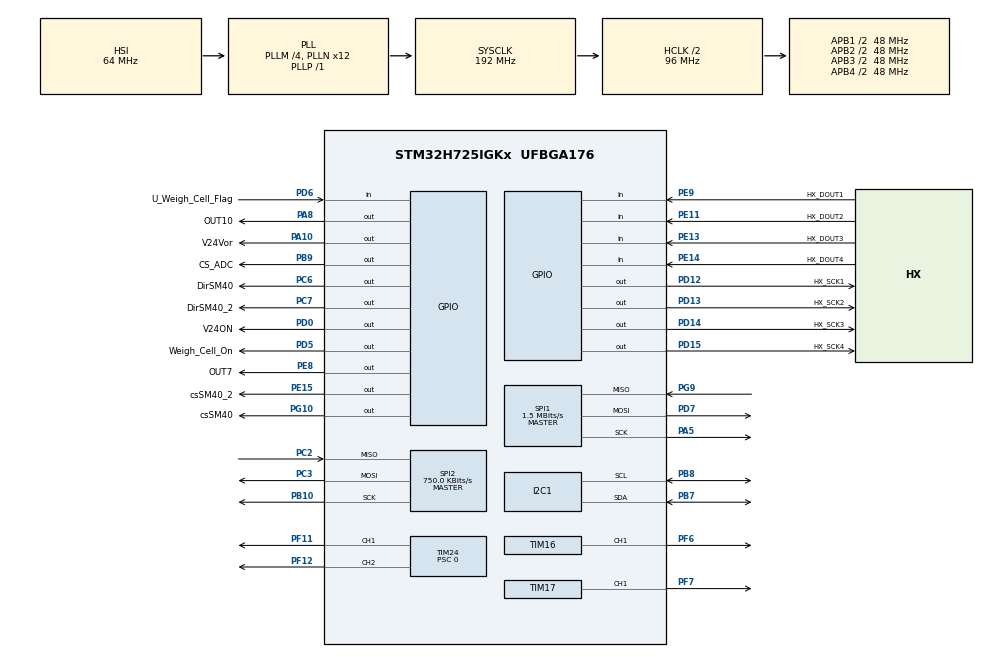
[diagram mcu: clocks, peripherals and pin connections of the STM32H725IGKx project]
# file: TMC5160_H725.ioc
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CORTEX_M7.CPU_DCache=Enabled
CORTEX_M7.CPU_ICache=Enabled
CORTEX_M7.Enable_S-Cortex_Memory_Protection_Unit_Region2_Settings_S=__NULL
CORTEX_M7.default_mode_Activation=1
I2C1.Timing=0x20303E5D
Mcu.Family=STM32H7
Mcu.Name=STM32H725IGKx
Mcu.Package=UFBGA176
NVIC.I2C1_EV_IRQn=true\:0\:0\:false\:false\:true\:true\:true\:true
NVIC.PriorityGroup=NVIC_PRIORITYGROUP_4
NVIC.SPI1_IRQn=true\:0\:0\:false\:false\:true\:true\:true\:true
NVIC.SPI2_IRQn=true\:0\:0\:false\:false\:true\:true\:true\:true
NVIC.TIM17_IRQn=true\:0\:0\:false\:false\:true\:true\:true\:true
NVIC.TIM1_UP_IRQn=true\:15\:0\:false\:false\:true\:false\:true\:true
NVIC.TimeBase=TIM1_UP_IRQn
NVIC.TimeBaseIP=TIM1
PA10.GPIO_Label=V24Vor
PA10.GPIO_Speed=GPIO_SPEED_FREQ_LOW
PA10.Signal=GPIO_Output
PA5.GPIO_Speed=GPIO_SPEED_FREQ_VERY_HIGH
PA5.Mode=Full_Duplex_Master
PA5.Signal=SPI1_SCK
PA8.GPIO_Label=OUT10
PA8.Signal=GPIO_Output
PB10.Mode=Full_Duplex_Master
PB10.Signal=SPI2_SCK
PB7.GPIO_Pu=GPIO_PULLUP
PB7.Mode=I2C
PB7.Signal=I2C1_SDA
PB8.GPIO_Pu=GPIO_PULLUP
PB8.Mode=I2C
PB8.Signal=I2C1_SCL
PB9.GPIO_Label=CS_ADC
PB9.Signal=GPIO_Output
PC14-OSC32_IN.Mode=LSE-External-Oscillator
PC14-OSC32_IN.Signal=RCC_OSC32_IN
PC15-OSC32_OUT.Mode=LSE-External-Oscillator
PC15-OSC32_OUT.Signal=RCC_OSC32_OUT
PC2.GPIO_PuPd=GPIO_NOPULL
PC2.GPIO_Speed=GPIO_SPEED_FREQ_LOW
PC2.Mode=Full_Duplex_Master
PC2.Signal=SPI2_MISO
PC3.Mode=Full_Duplex_Master
PC3.Signal=SPI2_MOSI
PC6.GPIO_Label=DirSM40
PC6.GPIO_Speed=GPIO_SPEED_FREQ_LOW
PC6.Signal=GPIO_Output
PC7.GPIO_Label=DirSM40_2
PC7.Signal=GPIO_Output
PD0.GPIO_Label=V24ON
PD0.GPIO_Speed=GPIO_SPEED_FREQ_LOW
PD0.Signal=GPIO_Output
PD12.GPIO_Label=HX_SCK1
PD12.Signal=GPIO_Output
PD13.GPIO_Label=HX_SCK2 
PD13.Signal=GPIO_Output
PD14.GPIO_Label=HX_SCK3
PD14.Signal=GPIO_Output
PD15.GPIO_Label=HX_SCK4
PD15.Signal=GPIO_Output
PD5.GPIO_Label=Weigh_Cell_On 
PD5.Signal=GPIO_Output
PD6.GPIO_Label=U_Weigh_Cell_Flag 
PD6.Signal=GPIO_Input
PD7.GPIO_Speed=GPIO_SPEED_FREQ_VERY_HIGH
PD7.Mode=Full_Duplex_Master
PD7.Signal=SPI1_MOSI
PE11.GPIO_Label=HX_DOUT2 
PE11.Signal=GPIO_Input
PE13.GPIO_Label=HX_DOUT3 
PE13.Signal=GPIO_Input
PE14.GPIO_Label=HX_DOUT4 
PE14.Signal=GPIO_Input
PE15.GPIO_Label=csSM40_2
PE15.Signal=GPIO_Output
PE8.GPIO_Label=OUT7
PE8.Signal=GPIO_Output
PE9.GPIO_Label=HX_DOUT1 
PE9.Signal=GPIO_Input
PF11.Mode=PWM Generation1 CH1
PF11.Signal=TIM24_CH1
PF12.Signal=S_TIM24_CH2
PF6.Signal=S_TIM16_CH1
PF7.Signal=S_TIM17_CH1
PG10.GPIO_Label=csSM40
PG10.GPIO_Speed=GPIO_SPEED_FREQ_LOW
PG10.Signal=GPIO_Output
PG9.GPIO_Speed=GPIO_SPEED_FREQ_VERY_HIGH
PG9.Mode=Full_Duplex_Master
PG9.Signal=SPI1_MISO
ProjectManager.HeapSize=0x200
ProjectManager.StackSize=0x400
ProjectManager.TargetToolchain=STM32CubeIDE
RCC.ADCFreq_Value=129000000
RCC.APB1Freq_Value=48000000
RCC.APB2Freq_Value=48000000
RCC.APB3Freq_Value=48000000
RCC.APB4Freq_Value=48000000
RCC.CortexFreq_Value=192000000
RCC.D1PPRE=RCC_APB3_DIV2
RCC.D2PPRE1=RCC_APB1_DIV2
RCC.D2PPRE2=RCC_APB2_DIV2
RCC.D3PPRE=RCC_APB4_DIV2
RCC.DIVM1=4
RCC.DIVN1=12
RCC.DIVP1=1
RCC.HCLKFreq_Value=96000000
RCC.HPRE=RCC_HCLK_DIV2
RCC.SYSCLKFreq_VALUE=192000000
RCC.SYSCLKSource=RCC_SYSCLKSOURCE_PLLCLK
RCC.USBFreq_Value=96000000
SH.S_TIM16_CH1.0=TIM16_CH1,PWM Generation1 CH1
SH.S_TIM17_CH1.0=TIM17_CH1,PWM Generation1 CH1
SH.S_TIM24_CH2.0=TIM24_CH2,PWM Generation2 CH2
SPI1.BaudRatePrescaler=SPI_BAUDRATEPRESCALER_64
SPI1.CLKPolarity=SPI_POLARITY_HIGH
SPI1.CalculateBaudRate=1.5 MBits/s
SPI1.DataSize=SPI_DATASIZE_8BIT
SPI1.Direction=SPI_DIRECTION_2LINES
SPI1.Mode=SPI_MODE_MASTER
SPI1.NSSPMode=SPI_NSS_PULSE_DISABLE
SPI1.VirtualType=VM_MASTER
SPI2.BaudRatePrescaler=SPI_BAUDRATEPRESCALER_128
SPI2.CLKPhase=SPI_PHASE_2EDGE
SPI2.CLKPolarity=SPI_POLARITY_HIGH
SPI2.CalculateBaudRate=750.0 KBits/s
SPI2.DataSize=SPI_DATASIZE_8BIT
SPI2.Direction=SPI_DIRECTION_2LINES
SPI2.Mode=SPI_MODE_MASTER
SPI2.NSSPMode=SPI_NSS_PULSE_DISABLE
SPI2.VirtualType=VM_MASTER
TIM16.AutoReloadPreload=TIM_AUTORELOAD_PRELOAD_ENABLE
TIM16.Channel=TIM_CHANNEL_1
TIM17.AutoReloadPreload=TIM_AUTORELOAD_PRELOAD_ENABLE
TIM17.Channel=TIM_CHANNEL_1
TIM17.ClockDivision=TIM_CLOCKDIVISION_DIV1
TIM17.Prescaler=0
TIM24.AutoReloadPreload=TIM_AUTORELOAD_PRELOAD_ENABLE
TIM24.Channel-PWM\ Generation1\ CH1=TIM_CHANNEL_1
TIM24.Channel-PWM\ Generation2\ CH2=TIM_CHANNEL_2
TIM24.ClockDivision=TIM_CLOCKDIVISION_DIV4
TIM24.OCMode_PWM-PWM\ Generation1\ CH1=TIM_OCMODE_PWM1
TIM24.OCMode_PWM-PWM\ Generation2\ CH2=TIM_OCMODE_PWM2
TIM24.Prescaler=0
VP_SYS_VS_tim1.Mode=TIM1
VP_TIM16_VS_ClockSourceINT.Mode=Enable_Timer
VP_TIM17_VS_ClockSourceINT.Mode=Enable_Timer
board=custom

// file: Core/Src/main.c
/* USER CODE BEGIN Header */
/**
  ******************************************************************************
  * @file           : main.c
  * @brief          : Main program body
  ******************************************************************************
  * @attention
  *
  * Copyright (c) 2023 STMicroelectronics.
  * All rights reserved.
  *
  * This software is licensed under terms that can be found in the LICENSE file
  * in the root directory of this software component.
  * If no LICENSE file comes with this software, it is provided AS-IS.
  *
  ******************************************************************************
  */
/* USER CODE END Header */
#include "main.h"

/* USER CODE BEGIN Includes */
#include "EventLoop.hpp"
#include "hx711.h"
/* USER CODE END Includes */

I2C_HandleTypeDef hi2c1;

SPI_HandleTypeDef hspi1;
SPI_HandleTypeDef hspi2;

TIM_HandleTypeDef htim16;
TIM_HandleTypeDef htim17;
TIM_HandleTypeDef htim24;

void SystemClock_Config(void);
static void MPU_Config(void);
static void MX_GPIO_Init(void);
static void MX_TIM17_Init(void);
static void MX_TIM24_Init(void);
static void MX_TIM16_Init(void);
static void MX_SPI1_Init(void);
static void MX_I2C1_Init(void);
static void MX_SPI2_Init(void);

/* USER CODE BEGIN 0 */
double calcFrequency(double m_dCycle, double m_dRampTimeMS,double m_dSollSpeedDriveHZ )
{
	double PI =3.14159999999478589672;
	double m_dCurrentlySpeedDriveHz;
    m_dCurrentlySpeedDriveHz = m_dSollSpeedDriveHZ*pow(sin(m_dCycle*(1/m_dRampTimeMS)-PI/2),10);
 	return m_dCurrentlySpeedDriveHz;
}

void Thread(double m_dSollSpeedDriveHZ, double m_dCycle, double m_dRampTimeMS, double m_dCurrentlySpeedDriveHz)
{
	int m_bStart = 0, m_bReverseRun = 0;

    if(m_bReverseRun)
    {
    	HAL_GPIO_WritePin(GPIOC, DirSM40_Pin,GPIO_PIN_SET);
	}

    calcFrequency( m_dCycle, m_dRampTimeMS, m_dSollSpeedDriveHZ);
	m_dCycle++;
	__HAL_TIM_SET_AUTORELOAD (&htim17,calcFrequency( m_dCycle, m_dRampTimeMS, 1/m_dSollSpeedDriveHZ)); // 31khz
	__HAL_TIM_SET_PRESCALER (&htim17,5);
    __HAL_TIM_SET_COMPARE (&htim17,TIM_CHANNEL_1,50);
	HAL_TIM_PWM_Start(&htim17, TIM_CHANNEL_1);
	TmcStart();

	if (m_dCycle > m_dRampTimeMS)
	{
		m_dCycle = m_dRampTimeMS;
	 }

	if (!m_bStart)
	{
	calcFrequency(m_dCycle, m_dRampTimeMS, m_dSollSpeedDriveHZ);
	m_dCycle--;
	}

	if (m_dCycle <= 0)
	{
		HAL_TIM_PWM_Stop(&htim17, TIM_CHANNEL_1);
		m_dCycle = 0;

	}
}

void TmcStart() // Chopper Config. für TMC5160
{
	uint8_t pDataSend1[5]={0xEC, 0, 0x1, 0, 0xC3};
	uint8_t pDataRecv1[5]={0, 0, 0, 0, 0};
	HAL_GPIO_WritePin(csSM40_GPIO_Port, csSM40_Pin,GPIO_PIN_RESET);
	HAL_SPI_TransmitReceive(&hspi1, pDataSend1, pDataRecv1, 5, 1000);
	HAL_GPIO_WritePin(csSM40_GPIO_Port, csSM40_Pin,GPIO_PIN_SET);

}
volatile uint32_t timerOverflow = 0;

uint32_t ReadHardwareTimer()
{
    uint32_t count = htim17.Instance->CNT;
    return count;
}

uint32_t ReadTimerOverflow()
{

    return timerOverflow;
}

uint16_t mem_read_reg(uint16_t register_pointer)

{    HAL_StatusTypeDef status = HAL_OK;    uint16_t return_value = 0;
     while (HAL_I2C_IsDeviceReady(&hi2c1, (uint16_t)(0x40), 3, 100) != HAL_OK) {}
     uint8_t* Data;
     status = HAL_I2C_Mem_Read(&hi2c1,(uint16_t)(0x40),(uint16_t)register_pointer, I2C_MEMADD_SIZE_16BIT,  &return_value, 2,   100);
    /* Check the communication status */
    if(status != HAL_OK) {
    }
    return return_value;
}

void writeAd7790 (uint8_t ui8address, uint8_t ui8value)
{
    uint8_t Data[2]={ui8address,ui8value};
    HAL_StatusTypeDef ret3;
	uint8_t Data1[2]={ui8address,ui8value};
	if (ui8address != RESET)
		{
			HAL_GPIO_WritePin(GPIOB, CS_ADC_Pin,GPIO_PIN_RESET);
			ret3  = HAL_SPI_Transmit(&hspi2, Data, 2, 1000);
		   	HAL_GPIO_WritePin(GPIOB, CS_ADC_Pin,GPIO_PIN_SET);
		} else
		{
			HAL_GPIO_WritePin(GPIOB, CS_ADC_Pin,GPIO_PIN_RESET);
			ret3  = HAL_SPI_Transmit(&hspi2, Data1, 2, 1000);
			ret3  = HAL_SPI_Transmit(&hspi2, Data1, 2, 1000);
			ret3  = HAL_SPI_Transmit(&hspi2, Data1, 2, 1000);
			ret3  = HAL_SPI_Transmit(&hspi2, Data1, 2, 1000);
			HAL_GPIO_WritePin(GPIOB, CS_ADC_Pin,GPIO_PIN_SET);
		}

}
uint16_t readAd7790 (uint8_t ui8address)
{
	uint16_t ui16AdcCodes = 0;
	uint8_t ui8AdcUpperCodes = 0;			// Data register read MSB
	uint8_t ui8AdcLowerCodes = 0;			// Data register read LSB
	uint8_t DataRecive[3]={ui8address,ui8AdcUpperCodes,ui8AdcLowerCodes};
	uint8_t DataSent[3]={ui8address,0x00,0x00};
	HAL_StatusTypeDef ret4;
	HAL_GPIO_WritePin(GPIOB, CS_ADC_Pin,GPIO_PIN_RESET);

	ret4  = HAL_SPI_Receive(&hspi2, DataRecive, 3, 1000);

	HAL_GPIO_WritePin(GPIOB, CS_ADC_Pin,GPIO_PIN_SET);
	return ui16AdcCodes;
}

void writeModeReg(uint8_t AD7794_WRITE_MODE_REG,uint8_t modeReg1,uint8_t modeReg2)
{
	uint8_t Data[3] = {0,0,0};
	Data[0] = AD7794_WRITE_MODE_REG;
	if(Data==0)
	{
		Data[0] = AD7794_WRITE_MODE_REG =  0x08;

	}
	HAL_GPIO_WritePin(GPIOB, CS_ADC_Pin,GPIO_PIN_RESET);
	HAL_SPI_Transmit(&hspi2, Data, 3, 1000);
	HAL_GPIO_WritePin(GPIOB, CS_ADC_Pin,GPIO_PIN_SET);

	uint8_t Data1[3] = {AD7794_WRITE_MODE_REG, modeReg1,modeReg2};

	HAL_GPIO_WritePin(GPIOB, CS_ADC_Pin,GPIO_PIN_RESET);
	HAL_SPI_Transmit(&hspi2, Data1, 3, 1000);
	HAL_GPIO_WritePin(GPIOB, CS_ADC_Pin,GPIO_PIN_SET);

}

float readADC7794(uint8_t ch,uint8_t AD7794_WRITE_MODE_REG)
{
		uint32_t adcRaw;
		uint16_t modeReg = 0;
		HAL_GPIO_WritePin(GPIOB, CS_ADC_Pin,GPIO_PIN_RESET);
		HAL_SPI_TransmitReceive(&hspi2, AD7794_WRITE_MODE_REG, modeReg, 3, 1000);
		HAL_GPIO_WritePin(GPIOB, CS_ADC_Pin,GPIO_PIN_SET);
}

unsigned long AD7799_GetRegisterValue(unsigned char regAddress, unsigned char size)
{
	HAL_StatusTypeDef GetR;
    #define AD7799_COMM_ADDR(x)	(((x) & 0x7) << 3)	/* Register Address */
    #define AD7799_COMM_READ    (1 << 6) 			/* Read Operation */
	unsigned char data[5] = {0x03, 0x00, 0x00, 0x00, 0x00};
	unsigned char dataRe[5] = {0x00, 0x00, 0x00, 0x00, 0x00};
	unsigned long receivedData = 0x00;
	data[1] = AD7799_COMM_READ | (((regAddress) & 0x7) << 3);
	HAL_GPIO_WritePin(GPIOB, CS_ADC_Pin,GPIO_PIN_RESET);

	GetR = HAL_SPI_TransmitReceive(&hspi2, data, dataRe, size, 1000);
	/*GetR = HAL_SPI_Transmit(&hspi2, data, 1, 10);
	GetR = HAL_SPI_Receive(&hspi2, data, size, 10);*/

	HAL_GPIO_WritePin(GPIOB, CS_ADC_Pin,GPIO_PIN_SET);
	if(size == 1)
	{
		receivedData += (dataRe[0] << 0);
	}
	if(size == 2)
	{
		receivedData += (dataRe[0] << 8);
		receivedData += (dataRe[1] << 0);
	}
	if(size == 3)
	{
		receivedData += (dataRe[0] << 16);
		receivedData += (dataRe[1] << 8);
		receivedData += (dataRe[2] << 0);
	}
    return receivedData;
}

void AD7799_Reset(void)
{
	HAL_StatusTypeDef ResT;
	unsigned char dataToSend[5] = {0x03, 0xff, 0xff, 0xff, 0xff};
	HAL_GPIO_WritePin(GPIOB, CS_ADC_Pin,GPIO_PIN_RESET);
	ResT = HAL_SPI_Transmit(&hspi2, dataToSend, 4, 10);
	HAL_GPIO_WritePin(GPIOB, CS_ADC_Pin,GPIO_PIN_SET);
}

void AD7799_SetRegisterValue(unsigned char regAddress,
                             unsigned long regValue,
                             unsigned char size)
{
    #define AD7799_COMM_WRITE	(0 << 6) 			/* Write Operation */
	unsigned char data[5] = {0x03, 0x00, 0x00, 0x00, 0x00};
	data[1] = AD7799_COMM_WRITE |  (((regAddress) & 0x7) << 3);
    if(size == 1)
    {
        data[2] = (unsigned char)regValue;
    }
    if(size == 2)
    {
		data[3] = (unsigned char)((regValue & 0x0000FF) >> 0);
        data[2] = (unsigned char)((regValue & 0x00FF00) >> 8);
    }
    if(size == 3)
    {
		data[4] = (unsigned char)((regValue & 0x0000FF) >> 0);
		data[3] = (unsigned char)((regValue & 0x00FF00) >> 8);
        data[2] = (unsigned char)((regValue & 0xFF0000) >> 16);
    }
    HAL_StatusTypeDef SetH;
	HAL_GPIO_WritePin(GPIOB, CS_ADC_Pin,GPIO_PIN_RESET);
	SetH = HAL_SPI_Transmit(&hspi2, data,(1+ size), 10);
	HAL_GPIO_WritePin(GPIOB, CS_ADC_Pin,GPIO_PIN_SET);

}

unsigned char AD7799_Ready(void)
{
    #define AD7799_REG_STAT	    0 /* Status Register	    (RO, 8-bit) */
    unsigned char rdy = 0;
    rdy = (AD7799_GetRegisterValue( AD7799_REG_STAT,1) & 0x80);

	return(!rdy);
}

void AD7799_SetMode(unsigned long mode)
{

	#define AD7799_REG_MODE	    1 /* Mode Register	     	(RW, 16-bit */
    unsigned long command;
    command = AD7799_GetRegisterValue(AD7799_REG_MODE,2);
    command &= ~(((0xFF) & 0x7) << 13);
    command |= (((mode) & 0x7) << 13);
    AD7799_SetRegisterValue(
            AD7799_REG_MODE,
            command,
            2
    );
}

void AD7799_SetChannel(unsigned long channel)
{
	#define AD7799_REG_CONF	    2 /* Configuration Register (RW, 16-bit)*/
    unsigned long command;
    command = AD7799_GetRegisterValue(AD7799_REG_CONF,2);
    command &= ~((0xFF) & 0x7);
    command |= ((channel) & 0x7);
    AD7799_SetRegisterValue(
            AD7799_REG_CONF,
            command,
            2
    );
}

void AD7799_SetGain(unsigned long gain)
{
	#define AD7799_REG_CONF	    2 /* Configuration Register (RW, 16-bit)*/
    unsigned long command;
    command = AD7799_GetRegisterValue(AD7799_REG_CONF,2);
    command &= ~(((0xFF) & 0x7) << 8);
    command |= (((gain) & 0x7) << 8);
    AD7799_SetRegisterValue(
            AD7799_REG_CONF,
            command,
            2
    );
}

void AD7799_SetReference(unsigned char state)
{
	#define AD7799_REG_CONF	    2 /* Configuration Register (RW, 16-bit)*/
    unsigned long command = 0;
    command = AD7799_GetRegisterValue(AD7799_REG_CONF,2);
    command &= ~(((1) & 0x1) << 5);
    command |= (((state) & 0x1) << 5);
    AD7799_SetRegisterValue(AD7799_REG_CONF,
							command,
							2);
}
unsigned char AD7799_Init(void)
{
	#define AD7799_ID			0x9
	#define AD7799_ID_MASK		0xF
	#define AD7799_REG_ID	    4 /* ID Register	     	(RO, 8-bit) */
	unsigned char status = 0x1;
	if((AD7799_GetRegisterValue(AD7799_REG_ID, 1) & 0x0F) != AD7799_ID)
	{
		status = 0x0;
	}

	return(status);
}

enum AD7794_OperatingModes {
    AD7794_OpMode_Continuous = 0,           // Continuous conversion mode (default). Only 1 channel
    AD7794_OpMode_SingleConv,               // Single conversion mode.

};

void setActiveCh(uint8_t ch)
{
    uint8_t currentCh;
  if(ch < 6){

    currentCh = ch;
    uint8_t AD7794_WRITE_MODE_REG = 0x08;
    uint16_t confReg;
    confReg =  0x0010 ;

    HAL_GPIO_WritePin(GPIOB, CS_ADC_Pin,GPIO_PIN_RESET);

   //  SPI.transfer(0x10);

     // SPI.transfer16(confReg);

     HAL_GPIO_WritePin(GPIOB, CS_ADC_Pin,GPIO_PIN_SET);
  }
}
uint32_t getConvResult()
{
  uint8_t inByte;
  uint32_t result = 0;

  //SPI.beginTransaction(spiSettings); //We should still be in our transaction
  uint8_t AD7794_READ_DATA_REG = 0x58;
HAL_StatusTypeDef ret11;
  HAL_GPIO_WritePin(GPIOB, CS_ADC_Pin,GPIO_PIN_RESET);
  uint8_t Data[3] = {0xFF,0,0};
  uint32_t DataRec[3] = {0,0,0};
  ret11 =  HAL_SPI_TransmitReceive(&hspi2, Data, DataRec, 4, 200);
  HAL_GPIO_WritePin(GPIOB, CS_ADC_Pin,GPIO_PIN_SET);
   result = DataRec [0];
   result |= (DataRec [1] & 0xFF0000 );
   result |= (DataRec [2] & 0x00FF00 );

  return result;
}

getReadingRaw(ch)
{
	uint32_t adcRaw = getConvResult();
}
// Class AD7794
uint8_t SPI2_Read_OneByte(uint8_t reg)
{
		uint8_t i;
		uint8_t SendReg[4]={reg,0xFF,0x00,0x00};
		uint8_t RecVReg[4]={0x00,0x00,0x00,0x00};
		HAL_GPIO_WritePin(GPIOB, CS_ADC_Pin,GPIO_PIN_RESET);
		HAL_SPI_Receive(&hspi2, RecVReg, 4, 100);
	    // Register und Data zusammen ?
		HAL_SPI_TransmitReceive(&hspi2, SendReg , RecVReg, 4, 100);

		HAL_GPIO_WritePin(GPIOB, CS_ADC_Pin,GPIO_PIN_SET);
		i = RecVReg[2];
		return i;

}

void SPI2_Read_buf(uint8_t reg, uint8_t *pbuf, uint8_t len)
{
	uint8_t i;
	HAL_GPIO_WritePin(GPIOB, CS_ADC_Pin,GPIO_PIN_RESET);
	uint8_t RecvReg[2]= {reg, 0x00 };
	HAL_SPI_Receive(&hspi2, RecvReg, 1, 100);
	for(i = 0; i < len; i++)
	{
		// Register und Data zusammen ?
	uint8_t RecvReg1[2]= {reg, 0xFF};
	HAL_SPI_TransmitReceive(&hspi2, RecvReg1 , pbuf[i], 1, 100);
	}

	HAL_GPIO_WritePin(GPIOB, CS_ADC_Pin,GPIO_PIN_SET);

}

void SPI2_Write_buf(uint8_t reg, uint8_t *pbuf, uint8_t len)
{
	uint8_t status , i;

	// SPI_CS_Enable();
	 HAL_GPIO_WritePin(GPIOB, CS_ADC_Pin,GPIO_PIN_RESET);
	 HAL_StatusTypeDef Write;
uint8_t Send[4] = {reg, 0xFF, 0xFF,0xFF};
uint8_t Recv[4] = {0x00,0x00, 0x00,0x00};

	Write = HAL_SPI_Transmit(&hspi2, Send,4, 100);

	 uint8_t Send1[4] = {reg, 0xFF, 0xFF,0xFF};
	 uint8_t Recv1[4] = {0x00,0x00, 0x00,0x00};

	// for (int i=0 ; i< len; i++)
		{
		 // HAL_SPI_Transmit(&hspi2, *pbuf++, 1, 100);
		 // Write = HAL_SPI_Transmit(&hspi2, pbuf, len, 100);
		 Write = HAL_SPI_Transmit(&hspi2, Send1,4, 100);
		 // Write = HAL_SPI_Receive(&hspi2, Recv1, 4, 100);
		 Write = HAL_SPI_TransmitReceive(&hspi2, Send1, Recv1, 4, 100);

		}

	 HAL_GPIO_WritePin(GPIOB, CS_ADC_Pin,GPIO_PIN_SET);
}

void AD7794_Reset(void)
{
	uint8_t xtemp[3] = {0xFF,0xFF,0xFF};
	SPI2_Write_buf(0xFF, xtemp, 3);
}

uint8_t xDevice_ID;
void AD7794_Init(void)
{

	uint8_t ModeRegisterMsg[2] = {0x00,0x07};

	uint8_t ConfigRegisterMsg[2] = {0x00,0x91};  // 00 ch1 - 01 ch2 - 10 ch3 - 11 ch4

	uint8_t IoRegisterMsg[1] = {0x00};

	AD7794_Reset();

	HAL_Delay(1);

	xDevice_ID = SPI2_Read_OneByte(0x60);

	//if((xDevice_ID & 0x0F)==0x0B)
	{
		HAL_Delay(1);
		 HAL_StatusTypeDef Write1;
		 //SPI2_Write_buf(0x08, ModeRegisterMsg, 2);   // Mode register
		 HAL_GPIO_WritePin(GPIOB, CS_ADC_Pin,GPIO_PIN_RESET);
		 uint8_t Send2[5] = {0x00,0x50,0x00,0x00,0x00};
	     uint8_t Recv2[5] = {0x00,0x00,0x00,0x00,0x00};
		 Write1 = HAL_SPI_Transmit(&hspi2, Send2,5, 100);
		 Write1 = HAL_SPI_TransmitReceive(&hspi2, Send2, Recv2, 5, 100);
		 HAL_GPIO_WritePin(GPIOB, CS_ADC_Pin,GPIO_PIN_SET);

		HAL_Delay(1);
		// SPI2_Write_buf(0x08, ConfigRegisterMsg, 2);   // Config register
		 HAL_GPIO_WritePin(GPIOB, CS_ADC_Pin,GPIO_PIN_RESET);
		 uint8_t Send3[5] = {0x00, 0x11,0x00,0x00,0x00};
	     uint8_t Recv3[5] = {0x00,0x00,0x00,0x00,0x00};
		 Write1 = HAL_SPI_Transmit(&hspi2, Send3,5, 100);
		 Write1 = HAL_SPI_TransmitReceive(&hspi2, Send3, Recv3, 5, 100);
		 HAL_GPIO_WritePin(GPIOB, CS_ADC_Pin,GPIO_PIN_SET);

		HAL_Delay(1);

		// SPI2_Write_buf(0x28, IoRegisterMsg, 1);   // IO register
		 HAL_GPIO_WritePin(GPIOB, CS_ADC_Pin,GPIO_PIN_RESET);
		 uint8_t Send4[4] = {0x00, 0x00,0x00,0x00};
	     uint8_t Recv4[4] = {0x00,0x00,0x00,0x00};
		 Write1 = HAL_SPI_Transmit(&hspi2, Send4,4, 100);
		 Write1 = HAL_SPI_TransmitReceive(&hspi2, Send4, Recv4, 4, 100);
		 HAL_GPIO_WritePin(GPIOB, CS_ADC_Pin,GPIO_PIN_SET);

		HAL_Delay(1);
	}
}

int32_t Read_AD7794_Data(void)
{
	uint8_t xStatus = 1;
	uint8_t xRDY = 0x80;
	uint8_t xtemp[3];
	int32_t adValue =0;

/*	while(1)
	{
		xStatus = SPI2_Read_OneByte(0x40);
		xRDY = xStatus60x80;
		HAL_Delay(1);
	}*/

//SPI2_Read_buf(0x58, xtemp,3);
	HAL_GPIO_WritePin(GPIOB, CS_ADC_Pin,GPIO_PIN_RESET);
	uint8_t RecvDataReg[4]= {0x3,0x00,0x00,0x00};
	HAL_SPI_Receive(&hspi2, RecvDataReg, 4, 100);

	xtemp[0] = RecvDataReg[1];
	xtemp[1] = RecvDataReg[2];
	xtemp[2] = RecvDataReg[3];

    adValue = ((int32_t)xtemp[0]<<16) | (((int32_t)xtemp[1]) <<8)|(((int32_t)xtemp[2]));

return adValue;

}
uint32_t AD7794_adValue;

/* USER CODE END 0 */

int main(void)
{

  /* MPU Configuration--------------------------------------------------------*/
  MPU_Config();

  /* Enable I-Cache---------------------------------------------------------*/
  SCB_EnableICache();

  /* Enable D-Cache---------------------------------------------------------*/
  SCB_EnableDCache();

  /* MCU Configuration--------------------------------------------------------*/

  /* Reset of all peripherals, Initializes the Flash interface and the Systick. */
  HAL_Init();

  /* Configure the system clock */
  SystemClock_Config();

  /* Initialize all configured peripherals */
  MX_GPIO_Init();
  MX_TIM17_Init();
  MX_TIM24_Init();
  MX_TIM16_Init();
  MX_SPI1_Init();
  MX_I2C1_Init();
  MX_SPI2_Init();
  /* USER CODE BEGIN 2 */

// Wägezellen mit SPI AD7795

    #define AD7794_CHANNEL_COUNT           8

	//Communications register settings
	#define AD7794_WRITE_MODE_REG       0x08    //selects mode reg for writing
	#define AD7794_WRITE_CONF_REG       0x10    //selects conf reg for writing
	#define AD7794_READ_DATA_REG        0x58    //selects data reg for reading
	#define AD7794_READ_STATUS_REG      0x40    //selects status register for reading //Added 11-14-2021

	#define AD7794_DEFAULT_MODE_REG   0x2001    //Single conversion mode, Fadc = 470Hz
	#define AD7794_DEFAULT_CONF_REG   0x0010    //CH 0 - Bipolar, Gain = 1, Input buffer enabled
	#define AD7794_CHOP_DISABLE       0x0210    //Chop disable bits in mode register

	#define AD7794_ADC_MAX_UP     16777216
	#define AD7794_ADC_MAX_BP     8388608

	#define AD7794_INTERNAL_REF_V  1.17
	#define AD7794_REF_EXT_1          0
	#define AD7794_REF_EXT_2          1
	#define AD7794_REF_INT            2
    uint8_t ch;
    uint8_t currentCh;
	uint8_t inByte;
	uint32_t result = 0;

	// Config Reg// ___________________________________

/*AD7794_Init();
while(1)
{
	AD7794_adValue = Read_AD7794_Data();
	HAL_Delay(200);

}*/

		HAL_GPIO_WritePin(csSM40_GPIO_Port, csSM40_Pin,GPIO_PIN_SET);
		HAL_GPIO_WritePin(V24Vor_GPIO_Port, V24Vor_Pin, GPIO_PIN_SET);

		HAL_Delay(200);

		HAL_GPIO_WritePin(V24ON_GPIO_Port, V24ON_Pin, GPIO_PIN_SET);
		HAL_Delay(200);

		HAL_GPIO_WritePin(GPIOD, Weigh_Cell_On_Pin, GPIO_PIN_SET);
		HAL_Delay(1000);

		HAL_GPIO_WritePin(GPIOD, Weigh_Cell_On_Pin, GPIO_PIN_RESET);
		HAL_Delay(1000);
		GPIO_PinState Flag;
		Flag = HAL_GPIO_ReadPin(U_Weigh_Cell_Flag_GPIO_Port, U_Weigh_Cell_Flag_Pin);
		HAL_Delay(200);

	        HAL_SPI_StateTypeDef ret5;

		    //RESET AD7795
		    /*uint8_t DATASEN[4]={ 0xFF, 0xFF, 0xFF, 0xFF};
		    uint8_t DATARECV[4]={ 0, 0, 0, 0};
			HAL_GPIO_WritePin(GPIOB, CS_ADC_Pin,GPIO_PIN_RESET);
			//ret5 = HAL_SPI_Transmit(&hspi2, DATASEN, 4, 200);
			ret5 = HAL_SPI_TransmitReceive(&hspi2, DATASEN, DATARECV, 1, 100);
			HAL_GPIO_WritePin(GPIOB, CS_ADC_Pin,GPIO_PIN_SET);
			HAL_Delay(50);*/

			// Communication Register write to Mode Register 0x8
		    uint8_t DATASEN6[1]={0x8};
		    //uint8_t DATAREC6[2]={ 0x00, 0x00};
			HAL_GPIO_WritePin(GPIOB, CS_ADC_Pin,GPIO_PIN_RESET);
			ret5 = HAL_SPI_Transmit(&hspi2, DATASEN6, 1, 1000);
			HAL_GPIO_WritePin(GPIOB, CS_ADC_Pin,GPIO_PIN_SET);
			HAL_Delay(50);

			// Mode Register      // fADC = 61.7 Hz  120 ms settle
			// 1010 0000 0000 1010
			// 0010 0000 0101 0001
			uint8_t DATASEN2[2]={ 0x20, 0x0A};
			HAL_GPIO_WritePin(GPIOB, CS_ADC_Pin,GPIO_PIN_RESET);
			ret5 = HAL_SPI_Transmit(&hspi2, DATASEN2, 2, 1000);
			HAL_GPIO_WritePin(GPIOB, CS_ADC_Pin,GPIO_PIN_SET);
			HAL_Delay(50);

while(1)
{

	// Communication Register to read Data Register
				uint8_t DATASEN8[1]={ 0x58};
				HAL_GPIO_WritePin(GPIOB, CS_ADC_Pin,GPIO_PIN_RESET);
				ret5 = HAL_SPI_Transmit(&hspi2, DATASEN8, 1, 1000);
				HAL_GPIO_WritePin(GPIOB, CS_ADC_Pin,GPIO_PIN_SET);
				HAL_Delay(500);

				 //read out AD7795   Data Register
				//uint8_t DATASEN10[3]={ 0x58, 0x00, 0x00};
				uint8_t DATRECV10[3]={0,0,0};
				HAL_GPIO_WritePin(GPIOB, CS_ADC_Pin,GPIO_PIN_RESET);
				//ret5 = HAL_SPI_TransmitReceive(&hspi2, DATASEN3, DATRECV3, 3, 100);
				ret5 = HAL_SPI_Receive(&hspi2, DATRECV10, 2,1000);
				HAL_GPIO_WritePin(GPIOB, CS_ADC_Pin,GPIO_PIN_SET);
				//uint8_t Wert = DATRECV10[2] + DATRECV10[1] + DATRECV10[0];
				HAL_Delay(500);

}

			// Communication Register to write Configuration Regi
			uint8_t DATASEN4[1]={0x10};
			uint8_t DATAREC4[2];
			HAL_GPIO_WritePin(GPIOB, CS_ADC_Pin,GPIO_PIN_RESET);
			ret5 = HAL_SPI_Transmit(&hspi2, DATASEN4, 1, 1000);
			HAL_GPIO_WritePin(GPIOB, CS_ADC_Pin,GPIO_PIN_SET);
			HAL_Delay(50);

			// Configuration Register
			// 0000 0000 0001 0000
			// 0000 0111 1100 0000
			uint8_t DATASEN1[2]={ 0x07, 0xC0};   // Ch4 = {0x00, 0x13 } // CH1 = {0x00, 0x10} // CH2 = {0x00, 0x11} // CH3 = {0x00, 0x12}
			uint8_t DATARE1[2]={ 0x00, 0x00};
			HAL_GPIO_WritePin(GPIOB, CS_ADC_Pin,GPIO_PIN_RESET);
			// ret5 = HAL_SPI_Transmit(&hspi2, DATASEN1, 3, 200);
			ret5 = HAL_SPI_Transmit(&hspi2, DATASEN1, 2, 1000);
			HAL_GPIO_WritePin(GPIOB, CS_ADC_Pin,GPIO_PIN_SET);
			HAL_Delay(50);

			// Communication Register to write Mode Register
			uint8_t DATASEN5[1]={ 0x8};
			uint8_t DATAREC5[2]={ 0x00, 0x00};
			HAL_GPIO_WritePin(GPIOB, CS_ADC_Pin,GPIO_PIN_RESET);
			ret5 = HAL_SPI_Transmit(&hspi2, DATASEN5, 1, 1000);
			HAL_GPIO_WritePin(GPIOB, CS_ADC_Pin,GPIO_PIN_SET);
			HAL_Delay(50);

			// Mode Register     zero scale calibration
			uint8_t DATASEN3[2]={ 0x80, 0x0A};
			HAL_GPIO_WritePin(GPIOB, CS_ADC_Pin,GPIO_PIN_RESET);
			ret5 = HAL_SPI_Transmit(&hspi2, DATASEN3, 2, 1000);
			HAL_GPIO_WritePin(GPIOB, CS_ADC_Pin,GPIO_PIN_SET);
			HAL_Delay(50);

			int d = 1;
			while(d=0){
				 HAL_StatusTypeDef ret5;

			// Communication Register to write Mode Register
			uint8_t DATASEN5[1]={ 0x8};
			uint8_t DATAREC5[2]={ 0x00, 0x00};
			HAL_GPIO_WritePin(GPIOB, CS_ADC_Pin,GPIO_PIN_RESET);
			ret5 = HAL_SPI_Transmit(&hspi2, DATASEN5, 1, 1000);
			HAL_GPIO_WritePin(GPIOB, CS_ADC_Pin,GPIO_PIN_SET);
			HAL_Delay(500);

			// Mode Register     zero scale calibration
			uint8_t DATASEN3[2]={ 0x00, 0x0A};
			HAL_GPIO_WritePin(GPIOB, CS_ADC_Pin,GPIO_PIN_RESET);
			ret5 = HAL_SPI_Transmit(&hspi2, DATASEN3, 2, 1000);
			HAL_GPIO_WritePin(GPIOB, CS_ADC_Pin,GPIO_PIN_SET);
			HAL_Delay(500);

			// Communication Register to read Data Register
			uint8_t DATASEN8[1]={ 0x58};
			HAL_GPIO_WritePin(GPIOB, CS_ADC_Pin,GPIO_PIN_RESET);
			ret5 = HAL_SPI_Transmit(&hspi2, DATASEN8, 1, 1000);
			HAL_GPIO_WritePin(GPIOB, CS_ADC_Pin,GPIO_PIN_SET);
			HAL_Delay(500);

			 //read out AD7795   Data Register
			uint8_t DATASEN10[3]={ 0x58, 0x00, 0x00};
			uint8_t DATRECV10[3]={0,0,0};
			HAL_GPIO_WritePin(GPIOB, CS_ADC_Pin,GPIO_PIN_RESET);
			//ret5 = HAL_SPI_TransmitReceive(&hspi2, DATASEN3, DATRECV3, 3, 100);
			ret5 = HAL_SPI_Receive(&hspi2, DATRECV10, 2,1000);
			HAL_GPIO_WritePin(GPIOB, CS_ADC_Pin,GPIO_PIN_SET);
			uint8_t Wert = DATRECV10[2] + DATRECV10[1] + DATRECV10[0];
			HAL_Delay(500);

			//__________________________________________________________________________________________________
			// Communication Register to read Status
			uint8_t DATASEN9[1]={ 0x40};
			HAL_GPIO_WritePin(GPIOB, CS_ADC_Pin,GPIO_PIN_RESET);
			ret5 = HAL_SPI_Transmit(&hspi2, DATASEN9, 1, 1000);
			HAL_GPIO_WritePin(GPIOB, CS_ADC_Pin,GPIO_PIN_SET);
			HAL_Delay(500);

			// Read Status
			uint8_t DATASEN40[1]={0};
			uint8_t DATRECV40[1];
			HAL_GPIO_WritePin(GPIOB, CS_ADC_Pin,GPIO_PIN_RESET);
			ret5 = HAL_SPI_Receive(&hspi2, DATRECV40, 1, 1000);
			HAL_GPIO_WritePin(GPIOB, CS_ADC_Pin,GPIO_PIN_SET);
			HAL_Delay(500);

			}

// :::::::::::::::::::::::::::::::ENDE::::::::::::::::::::::::::::::::::::::::::::::::://
			//::::::::::::::::::::AHMAD::::::::::::::::::::::::::::::::::://

/*
  // Weigh Cell hx711:
  HAL_GPIO_WritePin(csSM40_GPIO_Port, csSM40_Pin,GPIO_PIN_SET);
  HAL_GPIO_WritePin(V24Vor_GPIO_Port, V24Vor_Pin, GPIO_PIN_SET);

  HAL_Delay(200);

  HAL_GPIO_WritePin(V24ON_GPIO_Port, V24ON_Pin, GPIO_PIN_SET);
  HAL_Delay(200);

  hx711_t loadcell;
  float weight;
  // HX_SCK1 = CLK PIN
  // DATA_PIN = HX_DOUT1
  hx711_init(&loadcell,GPIOD, HX_SCK4_Pin, GPIOE, HX_DOUT4_Pin);
  hx711_coef_set(&loadcell, 354.5); // read afer calibration
  hx711_tare(&loadcell, 10);
  // HX_DOUT1_GPIO_Port
  for(int i=0;i<50; i++)
  {
  HAL_Delay(500);
  weight = hx711_weight(&loadcell, 10);
  }
*/

  double m_dSollSpeedDriveHZ= 700;
  double m_dCycle=1;
  double m_dRampTimeMS =100;
  double m_dCurrentlySpeedDriveHz=0;
  int m_bStart = 0, m_bReverseRun = 0;
  HAL_GPIO_WritePin(csSM40_GPIO_Port, csSM40_Pin,GPIO_PIN_SET);
  HAL_GPIO_WritePin(V24Vor_GPIO_Port, V24Vor_Pin, GPIO_PIN_SET);

  HAL_Delay(200);

  HAL_GPIO_WritePin(V24ON_GPIO_Port, V24ON_Pin, GPIO_PIN_SET);
  HAL_Delay(200);

// start Stepper direct!
  while(1)
  {
      EventCreateC();
  }

  // Eingänge und Temp. Sensor

//when A2=1 A1=1 A0=1 =>0100 0000  0 write operation = 0x40 or 0100 0001  read operation = 0x41
//CAT9555 regsiter
#define IN_PORT0    0
#define IN_PORT1    1
#define OUT_PORT0   2
#define OUT_PORT1   3
#define PI_PORT0    4
#define PI_PORT1    5
#define CFG_PORT0   6
#define CFG_PORT1   7

unsigned char p0_val = 0x00;
unsigned char p1_val = 0xff;
unsigned int t = 0;
unsigned char int_flag = 0;

uint16_t DEV_ADDR  = 0X40;
uint16_t  DEV_ADDR2  = 0X41;
EventCreateC();

mem_read_reg(CFG_PORT0);
mem_read_reg(CFG_PORT1);

while(1)
{
	  HAL_Delay(20);
	   t++;
	   if(t>49)// Invert the level of the P0 port for about 1 second(20*50=1000ms)
	   {
	      t=0;
	      p0_val =~p0_val;
	     // Write_reg(OUT_PORT0, p0_val);
	   }
	      uint16_t res = mem_read_reg(IN_PORT1);     // Read_reg(IN_PORT1);

 		  if(/* X6 : */(res == 0xffef)||(res == 0xffbf)||(res == 0xffdf)||(res == 0xff7f)||(res == 0xfffe)||(res == 0xfffb||(res == 0xfffd))||(res == 0xfff7)
 				/* X5 : */||(res == 0xf7ff)||(res == 0xfeff)||(res == 0xfbff)||(res == 0xfdff)||(res == 0x7fff)||(res == 0xefff)||(res == 0xbfff)||(res == 0xdfff))
 		   {
 			   EventCreateC();
 		   }else
 		   {
 			   HAL_TIM_PWM_Stop(&htim17, TIM_CHANNEL_1);
 		   }

}

  static const uint8_t REG_TEMP = 0xc1;
  uint8_t TMP102_ADDR = 0x20;
  uint8_t buf[12];

  HAL_StatusTypeDef ret1;

  buf[0] = REG_TEMP;
  ret1 = HAL_I2C_Master_Transmit(&hi2c1, TMP102_ADDR, buf, 1, 1000);
  HAL_Delay(100);
  if ( ret1 != HAL_OK ) {
      strcpy((char*)buf, "Error Tx\r\n");
  } else {

      ret1 = HAL_I2C_Master_Receive(&hi2c1, TMP102_ADDR, buf, 2, 1000);
      if ( ret1 != HAL_OK ) {
      strcpy((char*)buf, "Error Rx\r\n");
      }
  }

 /* TIM24->CCR2 = 65535/2;
  HAL_TIMEx_PWMN_Start(&htim24, TIM_CHANNEL_2);*/

// Motoren TMC5160
  TIM16->CCR1 = 65535/2;
  HAL_TIM_PWM_Start(&htim16, TIM_CHANNEL_1);

  TIM24->CCR1 = 65535/2;
  HAL_TIM_PWM_Start(&htim24, TIM_CHANNEL_1);

  TIM24->CCR2 = 65535/2;
  HAL_TIM_PWM_Start(&htim24, TIM_CHANNEL_2);

    uint8_t pDataSend10[5]={0xEC, 0, 0x1, 0, 0xC3};
  	uint8_t pDataRecv10[5]={0, 0, 0, 0, 0};
  	HAL_GPIO_WritePin(csSM40_2_GPIO_Port, csSM40_2_Pin,GPIO_PIN_RESET);
  	HAL_SPI_TransmitReceive(&hspi1, pDataSend10, pDataRecv10, 5, 1000);
  	HAL_GPIO_WritePin(csSM40_2_GPIO_Port, csSM40_2_Pin,GPIO_PIN_SET);

while(1)
{
   for(int i=1; i<330;i+=60)
	{
		//InitializeInterface(ReadHardwareTimer, ReadTimerOverflow);
	   TIM17->CCR1 = 65535/2;
	   HAL_TIM_PWM_Start(&htim17, TIM_CHANNEL_1);
		/*m_dCurrentlySpeedDriveHz = 10+round(calcFrequency(i, m_dRampTimeMS,m_dSollSpeedDriveHZ));
		timerOverflow = 60 + m_dCurrentlySpeedDriveHz;
		__HAL_TIM_SET_AUTORELOAD (&htim17, 60 + m_dCurrentlySpeedDriveHz); // 31khz
		__HAL_TIM_SET_PRESCALER (&htim17,5);
		__HAL_TIM_SET_COMPARE (&htim17,TIM_CHANNEL_1,50);
		HAL_TIM_PWM_Start(&htim17, TIM_CHANNEL_1);*/
		TmcStart();
		HAL_Delay(80);
  	}
}

  HAL_GPIO_WritePin(GPIOA, OUT10_Pin,GPIO_PIN_SET );
  HAL_GPIO_WritePin(GPIOA, OUT10_Pin,GPIO_PIN_RESET );

	int tt =10000;
	while(tt>0)
	{
		tt--;
		 //Dir 1
	   	  HAL_GPIO_WritePin(GPIOC, DirSM40_Pin,GPIO_PIN_RESET);
		  /* TIM17->CCR1 = 65535/2;
			 HAL_TIM_Base_Start(&htim17);*/
		  // Rampe : PW 50, Prescaler 5, Overload: bei 40 ist Freq=16 und bei 1000 ist Freq 300 Hz

		  // 0xEC000100C3;
			uint8_t pDataSend2[5]={0xEC, 0, 0x1, 0, 0xC3};
			uint8_t pDataRecv2[5]={0, 0, 0, 0, 0};
			uint8_t pDataSend3[5]={0x90, 0, 0x06, 0x1F, 0x0A};
			uint8_t pDataRecv3[5]={0, 0, 0, 0, 0};
			uint32_t uhCapture = 0;
			uint32_t TIM17_pulses = 12;
			uint16_t autoreload_value;
			autoreload_value = __HAL_TIM_GET_AUTORELOAD(&htim17);

		  for(int i=1; i<330;i+=60)
		  {
			  m_dCurrentlySpeedDriveHz = 10+round(calcFrequency(i, m_dRampTimeMS,m_dSollSpeedDriveHZ));
			__HAL_TIM_SET_AUTORELOAD (&htim17, 60 + m_dCurrentlySpeedDriveHz); // 31khz
			__HAL_TIM_SET_PRESCALER (&htim17,5);
			__HAL_TIM_SET_COMPARE (&htim17,TIM_CHANNEL_1,50);
			HAL_TIM_PWM_Start(&htim17, TIM_CHANNEL_1);

			HAL_GPIO_WritePin(csSM40_GPIO_Port, csSM40_Pin,GPIO_PIN_RESET);
			HAL_SPI_TransmitReceive(&hspi1, pDataSend2, pDataRecv2, 5, 1000);
			HAL_GPIO_WritePin(csSM40_GPIO_Port, csSM40_Pin,GPIO_PIN_SET);
			HAL_Delay(80);
		  }

		  HAL_TIM_PWM_Stop(&htim17, TIM_CHANNEL_1);
		  HAL_Delay(3000);
		   /*HAL_GPIO_WritePin(csSM40_GPIO_Port, csSM40_Pin,GPIO_PIN_RESET);
		   HAL_SPI_TransmitReceive(&hspi1, pDataSend3, pDataRecv3, 5, 1000);
		   HAL_GPIO_WritePin(csSM40_GPIO_Port, csSM40_Pin,GPIO_PIN_SET);
		   HAL_Delay(23);*/
	  }

  /* USER CODE END 2 */

  /* Infinite loop */
  while (1)
  {

  }
}

void SystemClock_Config(void)
{
  RCC_OscInitTypeDef RCC_OscInitStruct = {0};
  RCC_ClkInitTypeDef RCC_ClkInitStruct = {0};

  /** Supply configuration update enable
  */
  HAL_PWREx_ConfigSupply(PWR_DIRECT_SMPS_SUPPLY);

  /** Configure the main internal regulator output voltage
  */
  __HAL_PWR_VOLTAGESCALING_CONFIG(PWR_REGULATOR_VOLTAGE_SCALE2);

  while(!__HAL_PWR_GET_FLAG(PWR_FLAG_VOSRDY)) {}

  /** Initializes the RCC Oscillators according to the specified parameters
  * in the RCC_OscInitTypeDef structure.
  */
  RCC_OscInitStruct.OscillatorType = RCC_OSCILLATORTYPE_HSI;
  RCC_OscInitStruct.HSIState = RCC_HSI_DIV1;
  RCC_OscInitStruct.HSICalibrationValue = 64;
  RCC_OscInitStruct.PLL.PLLState = RCC_PLL_ON;
  RCC_OscInitStruct.PLL.PLLSource = RCC_PLLSOURCE_HSI;
  RCC_OscInitStruct.PLL.PLLM = 4;
  RCC_OscInitStruct.PLL.PLLN = 12;
  RCC_OscInitStruct.PLL.PLLP = 1;
  RCC_OscInitStruct.PLL.PLLQ = 2;
  RCC_OscInitStruct.PLL.PLLR = 2;
  RCC_OscInitStruct.PLL.PLLRGE = RCC_PLL1VCIRANGE_3;
  RCC_OscInitStruct.PLL.PLLVCOSEL = RCC_PLL1VCOWIDE;
  RCC_OscInitStruct.PLL.PLLFRACN = 0;
  if (HAL_RCC_OscConfig(&RCC_OscInitStruct) != HAL_OK)
  {
    Error_Handler();
  }

  /** Initializes the CPU, AHB and APB buses clocks
  */
  RCC_ClkInitStruct.ClockType = RCC_CLOCKTYPE_HCLK|RCC_CLOCKTYPE_SYSCLK
                              |RCC_CLOCKTYPE_PCLK1|RCC_CLOCKTYPE_PCLK2
                              |RCC_CLOCKTYPE_D3PCLK1|RCC_CLOCKTYPE_D1PCLK1;
  RCC_ClkInitStruct.SYSCLKSource = RCC_SYSCLKSOURCE_PLLCLK;
  RCC_ClkInitStruct.SYSCLKDivider = RCC_SYSCLK_DIV1;
  RCC_ClkInitStruct.AHBCLKDivider = RCC_HCLK_DIV2;
  RCC_ClkInitStruct.APB3CLKDivider = RCC_APB3_DIV2;
  RCC_ClkInitStruct.APB1CLKDivider = RCC_APB1_DIV2;
  RCC_ClkInitStruct.APB2CLKDivider = RCC_APB2_DIV2;
  RCC_ClkInitStruct.APB4CLKDivider = RCC_APB4_DIV2;

  if (HAL_RCC_ClockConfig(&RCC_ClkInitStruct, FLASH_LATENCY_1) != HAL_OK)
  {
    Error_Handler();
  }
}

static void MX_I2C1_Init(void)
{

  hi2c1.Instance = I2C1;
  hi2c1.Init.Timing = 0x20303E5D;
  hi2c1.Init.OwnAddress1 = 0;
  hi2c1.Init.AddressingMode = I2C_ADDRESSINGMODE_7BIT;
  hi2c1.Init.DualAddressMode = I2C_DUALADDRESS_DISABLE;
  hi2c1.Init.OwnAddress2 = 0;
  hi2c1.Init.OwnAddress2Masks = I2C_OA2_NOMASK;
  hi2c1.Init.GeneralCallMode = I2C_GENERALCALL_DISABLE;
  hi2c1.Init.NoStretchMode = I2C_NOSTRETCH_DISABLE;
  if (HAL_I2C_Init(&hi2c1) != HAL_OK)
  {
    Error_Handler();
  }

  /** Configure Analogue filter
  */
  if (HAL_I2CEx_ConfigAnalogFilter(&hi2c1, I2C_ANALOGFILTER_ENABLE) != HAL_OK)
  {
    Error_Handler();
  }

  /** Configure Digital filter
  */
  if (HAL_I2CEx_ConfigDigitalFilter(&hi2c1, 0) != HAL_OK)
  {
    Error_Handler();
  }

}

static void MX_SPI1_Init(void)
{

  /* SPI1 parameter configuration*/
  hspi1.Instance = SPI1;
  hspi1.Init.Mode = SPI_MODE_MASTER;
  hspi1.Init.Direction = SPI_DIRECTION_2LINES;
  hspi1.Init.DataSize = SPI_DATASIZE_8BIT;
  hspi1.Init.CLKPolarity = SPI_POLARITY_HIGH;
  hspi1.Init.CLKPhase = SPI_PHASE_1EDGE;
  hspi1.Init.NSS = SPI_NSS_SOFT;
  hspi1.Init.BaudRatePrescaler = SPI_BAUDRATEPRESCALER_64;
  hspi1.Init.FirstBit = SPI_FIRSTBIT_MSB;
  hspi1.Init.TIMode = SPI_TIMODE_DISABLE;
  hspi1.Init.CRCCalculation = SPI_CRCCALCULATION_DISABLE;
  hspi1.Init.CRCPolynomial = 0x0;
  hspi1.Init.NSSPMode = SPI_NSS_PULSE_DISABLE;
  hspi1.Init.NSSPolarity = SPI_NSS_POLARITY_LOW;
  hspi1.Init.FifoThreshold = SPI_FIFO_THRESHOLD_01DATA;
  hspi1.Init.TxCRCInitializationPattern = SPI_CRC_INITIALIZATION_ALL_ZERO_PATTERN;
  hspi1.Init.RxCRCInitializationPattern = SPI_CRC_INITIALIZATION_ALL_ZERO_PATTERN;
  hspi1.Init.MasterSSIdleness = SPI_MASTER_SS_IDLENESS_00CYCLE;
  hspi1.Init.MasterInterDataIdleness = SPI_MASTER_INTERDATA_IDLENESS_00CYCLE;
  hspi1.Init.MasterReceiverAutoSusp = SPI_MASTER_RX_AUTOSUSP_DISABLE;
  hspi1.Init.MasterKeepIOState = SPI_MASTER_KEEP_IO_STATE_DISABLE;
  hspi1.Init.IOSwap = SPI_IO_SWAP_DISABLE;
  if (HAL_SPI_Init(&hspi1) != HAL_OK)
  {
    Error_Handler();
  }

}

static void MX_SPI2_Init(void)
{

  /* SPI2 parameter configuration*/
  hspi2.Instance = SPI2;
  hspi2.Init.Mode = SPI_MODE_MASTER;
  hspi2.Init.Direction = SPI_DIRECTION_2LINES;
  hspi2.Init.DataSize = SPI_DATASIZE_8BIT;
  hspi2.Init.CLKPolarity = SPI_POLARITY_HIGH;
  hspi2.Init.CLKPhase = SPI_PHASE_2EDGE;
  hspi2.Init.NSS = SPI_NSS_SOFT;
  hspi2.Init.BaudRatePrescaler = SPI_BAUDRATEPRESCALER_128;
  hspi2.Init.FirstBit = SPI_FIRSTBIT_MSB;
  hspi2.Init.TIMode = SPI_TIMODE_DISABLE;
  hspi2.Init.CRCCalculation = SPI_CRCCALCULATION_DISABLE;
  hspi2.Init.CRCPolynomial = 0x0;
  hspi2.Init.NSSPMode = SPI_NSS_PULSE_DISABLE;
  hspi2.Init.NSSPolarity = SPI_NSS_POLARITY_LOW;
  hspi2.Init.FifoThreshold = SPI_FIFO_THRESHOLD_01DATA;
  hspi2.Init.TxCRCInitializationPattern = SPI_CRC_INITIALIZATION_ALL_ZERO_PATTERN;
  hspi2.Init.RxCRCInitializationPattern = SPI_CRC_INITIALIZATION_ALL_ZERO_PATTERN;
  hspi2.Init.MasterSSIdleness = SPI_MASTER_SS_IDLENESS_00CYCLE;
  hspi2.Init.MasterInterDataIdleness = SPI_MASTER_INTERDATA_IDLENESS_00CYCLE;
  hspi2.Init.MasterReceiverAutoSusp = SPI_MASTER_RX_AUTOSUSP_DISABLE;
  hspi2.Init.MasterKeepIOState = SPI_MASTER_KEEP_IO_STATE_DISABLE;
  hspi2.Init.IOSwap = SPI_IO_SWAP_DISABLE;
  if (HAL_SPI_Init(&hspi2) != HAL_OK)
  {
    Error_Handler();
  }

}

static void MX_TIM16_Init(void)
{

  TIM_OC_InitTypeDef sConfigOC = {0};
  TIM_BreakDeadTimeConfigTypeDef sBreakDeadTimeConfig = {0};

  htim16.Instance = TIM16;
  htim16.Init.Prescaler = 0;
  htim16.Init.CounterMode = TIM_COUNTERMODE_UP;
  htim16.Init.Period = 65535;
  htim16.Init.ClockDivision = TIM_CLOCKDIVISION_DIV1;
  htim16.Init.RepetitionCounter = 0;
  htim16.Init.AutoReloadPreload = TIM_AUTORELOAD_PRELOAD_ENABLE;
  if (HAL_TIM_Base_Init(&htim16) != HAL_OK)
  {
    Error_Handler();
  }
  if (HAL_TIM_PWM_Init(&htim16) != HAL_OK)
  {
    Error_Handler();
  }
  sConfigOC.OCMode = TIM_OCMODE_PWM1;
  sConfigOC.Pulse = 0;
  sConfigOC.OCPolarity = TIM_OCPOLARITY_HIGH;
  sConfigOC.OCNPolarity = TIM_OCNPOLARITY_HIGH;
  sConfigOC.OCFastMode = TIM_OCFAST_DISABLE;
  sConfigOC.OCIdleState = TIM_OCIDLESTATE_RESET;
  sConfigOC.OCNIdleState = TIM_OCNIDLESTATE_RESET;
  if (HAL_TIM_PWM_ConfigChannel(&htim16, &sConfigOC, TIM_CHANNEL_1) != HAL_OK)
  {
    Error_Handler();
  }
  sBreakDeadTimeConfig.OffStateRunMode = TIM_OSSR_DISABLE;
  sBreakDeadTimeConfig.OffStateIDLEMode = TIM_OSSI_DISABLE;
  sBreakDeadTimeConfig.LockLevel = TIM_LOCKLEVEL_OFF;
  sBreakDeadTimeConfig.DeadTime = 0;
  sBreakDeadTimeConfig.BreakState = TIM_BREAK_DISABLE;
  sBreakDeadTimeConfig.BreakPolarity = TIM_BREAKPOLARITY_HIGH;
  sBreakDeadTimeConfig.BreakFilter = 0;
  sBreakDeadTimeConfig.AutomaticOutput = TIM_AUTOMATICOUTPUT_DISABLE;
  if (HAL_TIMEx_ConfigBreakDeadTime(&htim16, &sBreakDeadTimeConfig) != HAL_OK)
  {
    Error_Handler();
  }
  HAL_TIM_MspPostInit(&htim16);

}

static void MX_TIM17_Init(void)
{

  TIM_OC_InitTypeDef sConfigOC = {0};
  TIM_BreakDeadTimeConfigTypeDef sBreakDeadTimeConfig = {0};

  htim17.Instance = TIM17;
  htim17.Init.Prescaler = 0;
  htim17.Init.CounterMode = TIM_COUNTERMODE_UP;
  htim17.Init.Period = 65535;
  htim17.Init.ClockDivision = TIM_CLOCKDIVISION_DIV1;
  htim17.Init.RepetitionCounter = 0;
  htim17.Init.AutoReloadPreload = TIM_AUTORELOAD_PRELOAD_ENABLE;
  if (HAL_TIM_Base_Init(&htim17) != HAL_OK)
  {
    Error_Handler();
  }
  if (HAL_TIM_PWM_Init(&htim17) != HAL_OK)
  {
    Error_Handler();
  }
  sConfigOC.OCMode = TIM_OCMODE_PWM1;
  sConfigOC.Pulse = 0;
  sConfigOC.OCPolarity = TIM_OCPOLARITY_HIGH;
  sConfigOC.OCNPolarity = TIM_OCNPOLARITY_HIGH;
  sConfigOC.OCFastMode = TIM_OCFAST_DISABLE;
  sConfigOC.OCIdleState = TIM_OCIDLESTATE_RESET;
  sConfigOC.OCNIdleState = TIM_OCNIDLESTATE_RESET;
  if (HAL_TIM_PWM_ConfigChannel(&htim17, &sConfigOC, TIM_CHANNEL_1) != HAL_OK)
  {
    Error_Handler();
  }
  sBreakDeadTimeConfig.OffStateRunMode = TIM_OSSR_DISABLE;
  sBreakDeadTimeConfig.OffStateIDLEMode = TIM_OSSI_DISABLE;
  sBreakDeadTimeConfig.LockLevel = TIM_LOCKLEVEL_OFF;
  sBreakDeadTimeConfig.DeadTime = 0;
  sBreakDeadTimeConfig.BreakState = TIM_BREAK_DISABLE;
  sBreakDeadTimeConfig.BreakPolarity = TIM_BREAKPOLARITY_HIGH;
  sBreakDeadTimeConfig.BreakFilter = 0;
  sBreakDeadTimeConfig.AutomaticOutput = TIM_AUTOMATICOUTPUT_DISABLE;
  if (HAL_TIMEx_ConfigBreakDeadTime(&htim17, &sBreakDeadTimeConfig) != HAL_OK)
  {
    Error_Handler();
  }
  HAL_TIM_MspPostInit(&htim17);

}

static void MX_TIM24_Init(void)
{

  TIM_MasterConfigTypeDef sMasterConfig = {0};
  TIM_OC_InitTypeDef sConfigOC = {0};

  htim24.Instance = TIM24;
  htim24.Init.Prescaler = 0;
  htim24.Init.CounterMode = TIM_COUNTERMODE_UP;
  htim24.Init.Period = 4294967295;
  htim24.Init.ClockDivision = TIM_CLOCKDIVISION_DIV4;
  htim24.Init.AutoReloadPreload = TIM_AUTORELOAD_PRELOAD_ENABLE;
  if (HAL_TIM_PWM_Init(&htim24) != HAL_OK)
  {
    Error_Handler();
  }
  sMasterConfig.MasterOutputTrigger = TIM_TRGO_RESET;
  sMasterConfig.MasterSlaveMode = TIM_MASTERSLAVEMODE_DISABLE;
  if (HAL_TIMEx_MasterConfigSynchronization(&htim24, &sMasterConfig) != HAL_OK)
  {
    Error_Handler();
  }
  sConfigOC.OCMode = TIM_OCMODE_PWM1;
  sConfigOC.Pulse = 0;
  sConfigOC.OCPolarity = TIM_OCPOLARITY_HIGH;
  sConfigOC.OCFastMode = TIM_OCFAST_DISABLE;
  if (HAL_TIM_PWM_ConfigChannel(&htim24, &sConfigOC, TIM_CHANNEL_1) != HAL_OK)
  {
    Error_Handler();
  }
  sConfigOC.OCMode = TIM_OCMODE_PWM2;
  if (HAL_TIM_PWM_ConfigChannel(&htim24, &sConfigOC, TIM_CHANNEL_2) != HAL_OK)
  {
    Error_Handler();
  }
  HAL_TIM_MspPostInit(&htim24);

}

static void MX_GPIO_Init(void)
{
  GPIO_InitTypeDef GPIO_InitStruct = {0};

  /* GPIO Ports Clock Enable */
  __HAL_RCC_GPIOB_CLK_ENABLE();
  __HAL_RCC_GPIOG_CLK_ENABLE();
  __HAL_RCC_GPIOD_CLK_ENABLE();
  __HAL_RCC_GPIOA_CLK_ENABLE();
  __HAL_RCC_GPIOC_CLK_ENABLE();
  __HAL_RCC_GPIOF_CLK_ENABLE();
  __HAL_RCC_GPIOE_CLK_ENABLE();

  /*Configure GPIO pin Output Level */
  HAL_GPIO_WritePin(CS_ADC_GPIO_Port, CS_ADC_Pin, GPIO_PIN_RESET);

  /*Configure GPIO pin Output Level */
  HAL_GPIO_WritePin(GPIOD, Weigh_Cell_On_Pin|V24ON_Pin|HX_SCK3_Pin|HX_SCK2_Pin
                          |HX_SCK4_Pin|HX_SCK1_Pin, GPIO_PIN_RESET);

  /*Configure GPIO pin Output Level */
  HAL_GPIO_WritePin(GPIOA, OUT10_Pin|V24Vor_Pin, GPIO_PIN_RESET);

  /*Configure GPIO pin Output Level */
  HAL_GPIO_WritePin(csSM40_GPIO_Port, csSM40_Pin, GPIO_PIN_RESET);

  /*Configure GPIO pin Output Level */
  HAL_GPIO_WritePin(GPIOC, DirSM40_2_Pin|DirSM40_Pin, GPIO_PIN_RESET);

  /*Configure GPIO pin Output Level */
  HAL_GPIO_WritePin(GPIOE, OUT7_Pin|csSM40_2_Pin, GPIO_PIN_RESET);

  /*Configure GPIO pin : CS_ADC_Pin */
  GPIO_InitStruct.Pin = CS_ADC_Pin;
  GPIO_InitStruct.Mode = GPIO_MODE_OUTPUT_PP;
  GPIO_InitStruct.Pull = GPIO_NOPULL;
  GPIO_InitStruct.Speed = GPIO_SPEED_FREQ_LOW;
  HAL_GPIO_Init(CS_ADC_GPIO_Port, &GPIO_InitStruct);

  /*Configure GPIO pins : Weigh_Cell_On_Pin V24ON_Pin HX_SCK3_Pin HX_SCK2_Pin
                           HX_SCK4_Pin HX_SCK1_Pin */
  GPIO_InitStruct.Pin = Weigh_Cell_On_Pin|V24ON_Pin|HX_SCK3_Pin|HX_SCK2_Pin
                          |HX_SCK4_Pin|HX_SCK1_Pin;
  GPIO_InitStruct.Mode = GPIO_MODE_OUTPUT_PP;
  GPIO_InitStruct.Pull = GPIO_NOPULL;
  GPIO_InitStruct.Speed = GPIO_SPEED_FREQ_LOW;
  HAL_GPIO_Init(GPIOD, &GPIO_InitStruct);

  /*Configure GPIO pins : OUT10_Pin V24Vor_Pin */
  GPIO_InitStruct.Pin = OUT10_Pin|V24Vor_Pin;
  GPIO_InitStruct.Mode = GPIO_MODE_OUTPUT_PP;
  GPIO_InitStruct.Pull = GPIO_NOPULL;
  GPIO_InitStruct.Speed = GPIO_SPEED_FREQ_LOW;
  HAL_GPIO_Init(GPIOA, &GPIO_InitStruct);

  /*Configure GPIO pin : csSM40_Pin */
  GPIO_InitStruct.Pin = csSM40_Pin;
  GPIO_InitStruct.Mode = GPIO_MODE_OUTPUT_PP;
  GPIO_InitStruct.Pull = GPIO_NOPULL;
  GPIO_InitStruct.Speed = GPIO_SPEED_FREQ_LOW;
  HAL_GPIO_Init(csSM40_GPIO_Port, &GPIO_InitStruct);

  /*Configure GPIO pin : U_Weigh_Cell_Flag_Pin */
  GPIO_InitStruct.Pin = U_Weigh_Cell_Flag_Pin;
  GPIO_InitStruct.Mode = GPIO_MODE_INPUT;
  GPIO_InitStruct.Pull = GPIO_NOPULL;
  HAL_GPIO_Init(U_Weigh_Cell_Flag_GPIO_Port, &GPIO_InitStruct);

  /*Configure GPIO pins : DirSM40_2_Pin DirSM40_Pin */
  GPIO_InitStruct.Pin = DirSM40_2_Pin|DirSM40_Pin;
  GPIO_InitStruct.Mode = GPIO_MODE_OUTPUT_PP;
  GPIO_InitStruct.Pull = GPIO_NOPULL;
  GPIO_InitStruct.Speed = GPIO_SPEED_FREQ_LOW;
  HAL_GPIO_Init(GPIOC, &GPIO_InitStruct);

  /*Configure GPIO pins : HX_DOUT4_Pin HX_DOUT3_Pin HX_DOUT1_Pin HX_DOUT2_Pin */
  GPIO_InitStruct.Pin = HX_DOUT4_Pin|HX_DOUT3_Pin|HX_DOUT1_Pin|HX_DOUT2_Pin;
  GPIO_InitStruct.Mode = GPIO_MODE_INPUT;
  GPIO_InitStruct.Pull = GPIO_NOPULL;
  HAL_GPIO_Init(GPIOE, &GPIO_InitStruct);

  /*Configure GPIO pins : OUT7_Pin csSM40_2_Pin */
  GPIO_InitStruct.Pin = OUT7_Pin|csSM40_2_Pin;
  GPIO_InitStruct.Mode = GPIO_MODE_OUTPUT_PP;
  GPIO_InitStruct.Pull = GPIO_NOPULL;
  GPIO_InitStruct.Speed = GPIO_SPEED_FREQ_LOW;
  HAL_GPIO_Init(GPIOE, &GPIO_InitStruct);

}

/* MPU Configuration */

void MPU_Config(void)
{
  MPU_Region_InitTypeDef MPU_InitStruct = {0};

  /* Disables the MPU */
  HAL_MPU_Disable();

  /** Initializes and configures the Region and the memory to be protected
  */
  MPU_InitStruct.Enable = MPU_REGION_ENABLE;
  MPU_InitStruct.Number = MPU_REGION_NUMBER0;
  MPU_InitStruct.BaseAddress = 0x0;
  MPU_InitStruct.Size = MPU_REGION_SIZE_4GB;
  MPU_InitStruct.SubRegionDisable = 0x87;
  MPU_InitStruct.TypeExtField = MPU_TEX_LEVEL0;
  MPU_InitStruct.AccessPermission = MPU_REGION_NO_ACCESS;
  MPU_InitStruct.DisableExec = MPU_INSTRUCTION_ACCESS_DISABLE;
  MPU_InitStruct.IsShareable = MPU_ACCESS_SHAREABLE;
  MPU_InitStruct.IsCacheable = MPU_ACCESS_NOT_CACHEABLE;
  MPU_InitStruct.IsBufferable = MPU_ACCESS_NOT_BUFFERABLE;

  HAL_MPU_ConfigRegion(&MPU_InitStruct);
  /* Enables the MPU */
  HAL_MPU_Enable(MPU_PRIVILEGED_DEFAULT);

}

void HAL_TIM_PeriodElapsedCallback(TIM_HandleTypeDef *htim)
{
  if (htim->Instance == TIM1) {
    HAL_IncTick();
  }
  /* USER CODE BEGIN Callback 1 */

  if(htim == &htim17)
      {
          timerOverflow++;
      }

  /* USER CODE END Callback 1 */
}

void Error_Handler(void)
{
  __disable_irq();
  while (1)
  {
  }
}
